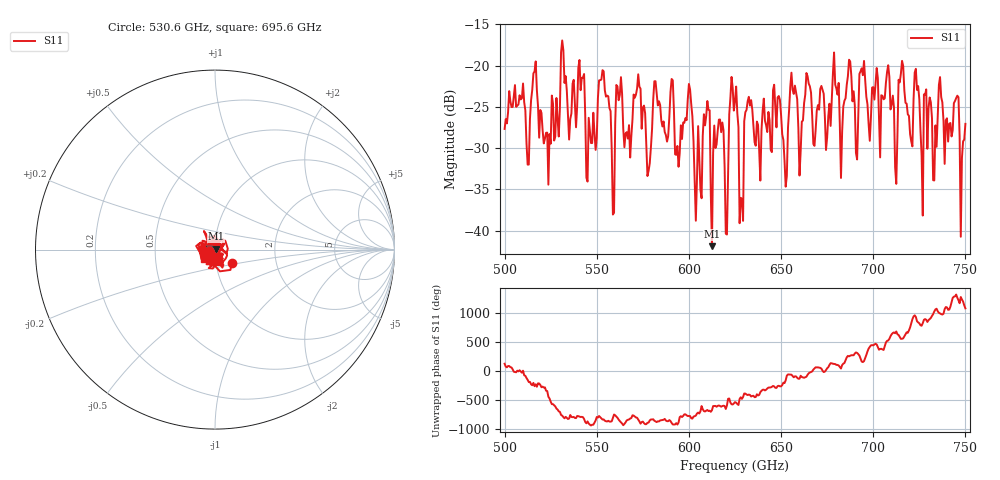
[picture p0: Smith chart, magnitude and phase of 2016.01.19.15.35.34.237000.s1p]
!Created with skrf (http://scikit-rf.org).
# GHz S RI R 50.0
!freq ReS11 ImS11
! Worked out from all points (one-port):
!   401 points, 500 GHz to 750 GHz, reference 50 ohm
!   lowest |S11| = -41.9 dB at 612.5 GHz (marker M1), VSWR 1.02, Z = 50.6 + j0.542 ohm
!   |S11| at or under -10 dB: start of sweep to end of sweep
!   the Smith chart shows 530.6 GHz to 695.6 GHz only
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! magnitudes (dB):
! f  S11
! 500 GHz  -27.7
! 512.5 GHz  -32.0
! 516.2 GHz  -20.7
! 523.8 GHz  -34.4
! 531.2 GHz  -16.9
! 541.9 GHz  -21.5
! 545.6 GHz  -26.3
! 553.1 GHz  -20.5
! 558.8 GHz  -38.0
! 562.5 GHz  -23.5
! 578.1 GHz  -32.7
! 590.6 GHz  -21.6
! 593.8 GHz  -29.7
! 600.6 GHz  -22.9
! 603.1 GHz  -34.0
! 610 GHz  -24.3
! 612.5 GHz  -41.9
! 617.5 GHz  -28.1
! 620.6 GHz  -40.5
! 625 GHz  -24.3
! 628.1 GHz  -36.0
! 632.5 GHz  -23.8
! 651.9 GHz  -31.5
! 656.2 GHz  -22.9
! 660.6 GHz  -30.4
! 687.5 GHz  -19.5
! 718.8 GHz  -25.9
! 750 GHz  -27.0
